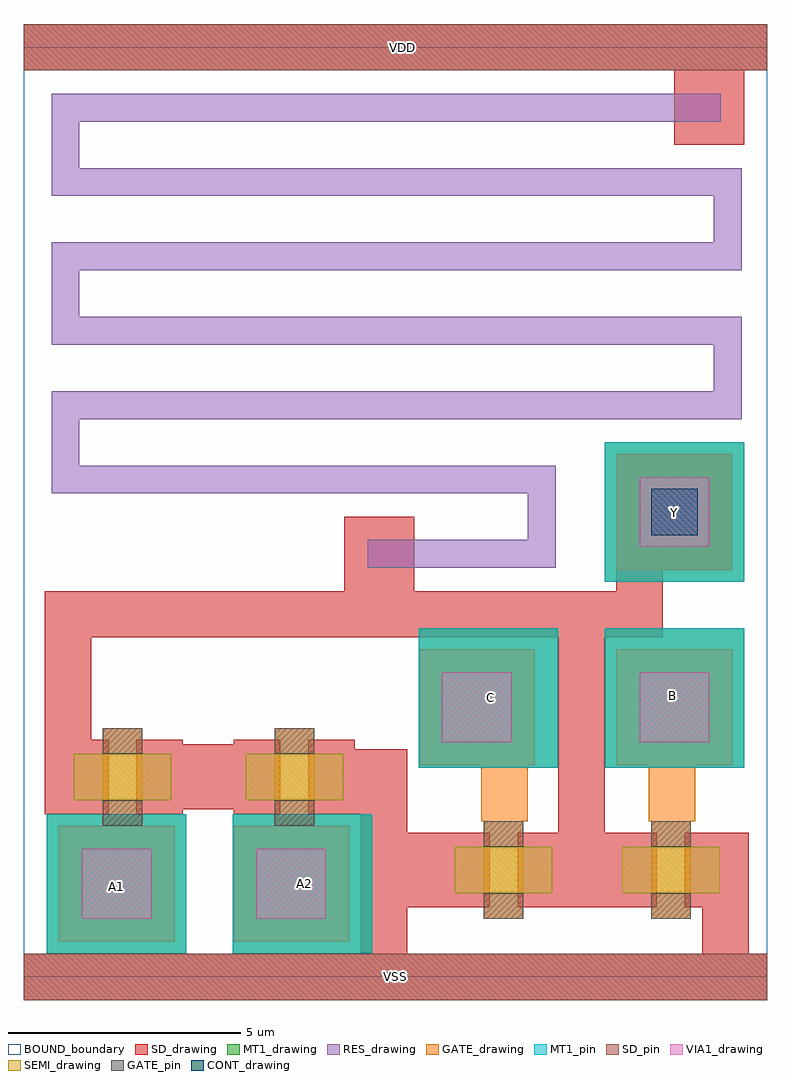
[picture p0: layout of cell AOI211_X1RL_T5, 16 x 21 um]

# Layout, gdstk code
from math import pi, radians
import gdstk
lib = gdstk.Library(unit=1e-6, precision=1e-09)
def R(c, l, rs):  # rectangles x0, y0, x1, y1
    for r in rs: c.add(gdstk.rectangle(r[:2], r[2:], *l))
def P(c, l, *ps):  # polygons
    for p in ps: c.add(gdstk.Polygon(p, *l))
RES_drawing = (1, 0)
SEMI_drawing = (3, 0)
SD_drawing = (10, 0)
SD_pin = (10, 3)
GATE_drawing = (11, 0)
GATE_pin = (11, 3)
MT1_drawing = (20, 0)
MT1_pin = (20, 3)
CONT_drawing = (30, 0)
VIA1_drawing = (41, 0)
BOUND_boundary = (150, 5)

nch_cdns_772544920600 = lib.new_cell('nch_CDNS_772544920600')
R(nch_cdns_772544920600, SEMI_drawing, [(-1.05,-0.5,1.05,0.5)])
R(nch_cdns_772544920600, SD_drawing, [(-1.3,-0.8,-0.3,0.8), (0.3,-0.8,1.3,0.8)])
R(nch_cdns_772544920600, GATE_drawing, [(-0.425,-1.05,0.425,1.05)])
R(nch_cdns_772544920600, GATE_pin, [(-0.425,-1.05,0.425,-0.5), (-0.425,0.5,0.425,1.05)])

gate_mt1_cdns_7725449206 = lib.new_cell('GATE_MT1_CDNS_772544920600')
R(gate_mt1_cdns_7725449206, GATE_drawing, [(-1.25,-1.25,1.25,1.25)])
R(gate_mt1_cdns_7725449206, MT1_drawing, [(-1.25,-1.25,1.25,1.25)])
R(gate_mt1_cdns_7725449206, VIA1_drawing, [(-0.75,-0.75,0.75,0.75)])

sd_gate_cdns_77254492060 = lib.new_cell('SD_GATE_CDNS_772544920601')
R(sd_gate_cdns_77254492060, SD_drawing, [(-1,-1,1,1)])
R(sd_gate_cdns_77254492060, GATE_drawing, [(-1,-1,1,1)])
R(sd_gate_cdns_77254492060, CONT_drawing, [(-0.5,-0.5,0.5,0.5)])

gate_mt1_stack_cdns_7725 = lib.new_cell('GATE_MT1_STACK_CDNS_772544920602')
R(gate_mt1_stack_cdns_7725, GATE_drawing, [(-1.25,-1.25,1.25,1.25)])
R(gate_mt1_stack_cdns_7725, MT1_drawing, [(-1.25,-1.25,1.25,1.25)])
R(gate_mt1_stack_cdns_7725, VIA1_drawing, [(-0.75,-0.75,0.75,0.75)])

aoi211_x1rl_t5 = lib.new_cell('AOI211_X1RL_T5')
R(aoi211_x1rl_t5, SD_drawing, [(7.05,3.5,7.25,4.9), (6.9,7.75,8.4,9.9), (12.75,8.75,15.25,11.25), (14,17.9,15.5,19.5)])
P(aoi211_x1rl_t5, SD_drawing, [(13.35,3.1),(12.5,3.1),(12.5,8.275),(11.5,8.275),(11.5,3.1),(10.95,3.1),(10.95,1.5),(13.35,1.5)])
R(aoi211_x1rl_t5, SD_pin, [(0,-0.5,16,0.5), (0,19.5,16,20.5)])
P(aoi211_x1rl_t5, GATE_drawing, [(5.225,3.15),(6.225,3.15),(6.225,3.25),(6.2,3.25),(6.2,3.3),(5.45,3.3),(5.45,3.25),(5.225,3.25)],
  [(1.6,3.15),(2.6,3.15),(2.6,3.25),(2.5,3.25),(2.5,3.3),(1.75,3.3),(1.75,3.25),(1.6,3.25)],
  [(10.85,3.45),(9.85,3.45),(9.85,3.35),(9.95,3.35),(9.95,3.3),(10.7,3.3),(10.7,3.35),(10.85,3.35)],
  [(14.45,3.45),(13.45,3.45),(13.45,3.35),(13.55,3.35),(13.55,3.3),(14.3,3.3),(14.3,3.35),(14.45,3.35)])
R(aoi211_x1rl_t5, MT1_drawing, [(0.5,0.5,3.5,3.5), (4.5,0.5,7.5,3.5), (8.5,4.5,11.5,7.5), (12.5,4.5,15.5,7.5), (12.5,8.5,15.5,11.5)])
R(aoi211_x1rl_t5, MT1_pin, [(0.5,0.5,3.5,3.5), (4.5,0.5,7.5,3.5), (8.5,4.5,11.5,7.5), (12.5,4.5,15.5,7.5), (12.5,8.5,15.5,11.5)])
R(aoi211_x1rl_t5, BOUND_boundary, [(0,0,16,20)])
aoi211_x1rl_t5.add(gdstk.FlexPath([(10.35,3.45),(10.35,4.55)], 1, ends="flush", simple_path=True, layer=11, datatype=0))  # GATE_drawing
aoi211_x1rl_t5.add(gdstk.FlexPath([(13.95,3.45),(13.95,4.55)], 1, ends="flush", simple_path=True, layer=11, datatype=0))  # GATE_drawing
aoi211_x1rl_t5.add(gdstk.FlexPath([(9,6.55),(9.95,6.55)], 1, ends=(0.5, 0), simple_path=True, layer=11, datatype=0))  # GATE_drawing
aoi211_x1rl_t5.add(gdstk.FlexPath([(2,3.25),(2,2)], 2.3, ends="flush", simple_path=True, layer=11, datatype=0))  # GATE_drawing
aoi211_x1rl_t5.add(gdstk.FlexPath([(0.95,7.8),(7.4,7.8)], 1, ends="extended", simple_path=True, layer=10, datatype=0))  # SD_drawing
aoi211_x1rl_t5.add(gdstk.FlexPath([(15.1,0),(16,0)], 1, ends=(0.5, 0), simple_path=True, layer=10, datatype=0))  # SD_drawing
aoi211_x1rl_t5.add(gdstk.FlexPath([(7.4,7.8),(7.4,7.3)], 1, ends=(0.5, 0), simple_path=True, layer=10, datatype=0))  # SD_drawing
aoi211_x1rl_t5.add(gdstk.FlexPath([(7.75,2.3),(7.75,4.9)], 1, ends=(0.8, 0), simple_path=True, layer=10, datatype=0))  # SD_drawing
aoi211_x1rl_t5.add(gdstk.FlexPath([(0.95,3.5),(0.95,7.8)], 1, ends=(0, 0.5), simple_path=True, layer=10, datatype=0))  # SD_drawing
aoi211_x1rl_t5.add(gdstk.FlexPath([(13.25,7.8),(13.25,8.75)], 1, ends=(0.5, 0), simple_path=True, layer=10, datatype=0))  # SD_drawing
aoi211_x1rl_t5.add(gdstk.FlexPath([(15.1,0),(15.1,3.1)], 1, ends=(0.5, 0), simple_path=True, layer=10, datatype=0))  # SD_drawing
aoi211_x1rl_t5.add(gdstk.FlexPath([(7.75,0),(7.75,2.3)], 1, ends=(0.5, 0.8), simple_path=True, layer=10, datatype=0))  # SD_drawing
aoi211_x1rl_t5.add(gdstk.FlexPath([(13.25,7.8),(7.4,7.8)], 1, ends="extended", simple_path=True, layer=10, datatype=0))  # SD_drawing
aoi211_x1rl_t5.add(gdstk.FlexPath([(7.75,0),(15.1,0)], 1, ends="extended", simple_path=True, layer=10, datatype=0))  # SD_drawing
aoi211_x1rl_t5.add(gdstk.FlexPath([(9.025,2.3),(7.75,2.3)], 1.6, ends=(0, 0.5), simple_path=True, layer=10, datatype=0))  # SD_drawing
aoi211_x1rl_t5.add(gdstk.FlexPath([(3.425,4.3),(4.525,4.3)], 1.4, ends="flush", simple_path=True, layer=10, datatype=0))  # SD_drawing
aoi211_x1rl_t5.add(gdstk.FlexPath([(0,0),(7.75,0)], 1, ends=(0, 0.5), simple_path=True, layer=10, datatype=0))  # SD_drawing
aoi211_x1rl_t5.add(gdstk.FlexPath([(16,20),(0,20)], 1, ends="flush", simple_path=True, layer=10, datatype=0))  # SD_drawing
aoi211_x1rl_t5.add(gdstk.FlexPath([(15,18.7),(0.9,18.7),(0.9,17.1),(15.15,17.1),(15.15,15.5),(0.9,15.5),(0.9,13.9),(15.15,13.9),(15.15,12.3),(0.9,12.3),(0.9,10.7),(11.15,10.7),(11.15,9.1),(7.4,9.1)], 0.6, ends="flush", simple_path=True, layer=1, datatype=0))  # RES_drawing
aoi211_x1rl_t5.add(gdstk.Reference(nch_cdns_772544920600, (10.325,2.3), x_reflection=True))
aoi211_x1rl_t5.add(gdstk.Reference(nch_cdns_772544920600, (2.125,4.3)))
aoi211_x1rl_t5.add(gdstk.Reference(nch_cdns_772544920600, (5.825,4.3), rotation=pi, x_reflection=True))
aoi211_x1rl_t5.add(gdstk.Reference(nch_cdns_772544920600, (13.925,2.3), rotation=pi))
aoi211_x1rl_t5.add(gdstk.Reference(gate_mt1_cdns_7725449206, (14,10)))
aoi211_x1rl_t5.add(gdstk.Reference(gate_mt1_cdns_7725449206, (9.75,5.8)))
aoi211_x1rl_t5.add(gdstk.Reference(gate_mt1_cdns_7725449206, (14,5.8)))
aoi211_x1rl_t5.add(gdstk.Reference(sd_gate_cdns_77254492060, (14,10)))
aoi211_x1rl_t5.add(gdstk.Reference(gate_mt1_stack_cdns_7725, (2,2)))
aoi211_x1rl_t5.add(gdstk.Reference(gate_mt1_stack_cdns_7725, (5.75,2)))
aoi211_x1rl_t5.add(gdstk.Label('VSS', (8,0), layer=10, texttype=3))
aoi211_x1rl_t5.add(gdstk.Label('VDD', (8.15,20), layer=10, texttype=3))
aoi211_x1rl_t5.add(gdstk.Label('A1', (2,1.95), layer=20, texttype=3))
aoi211_x1rl_t5.add(gdstk.Label('A2', (6.05,2), layer=20, texttype=3))
aoi211_x1rl_t5.add(gdstk.Label('C', (10.05,6), layer=20, texttype=3))
aoi211_x1rl_t5.add(gdstk.Label('B', (13.95,6.05), layer=20, texttype=3))
aoi211_x1rl_t5.add(gdstk.Label('Y', (14,10), layer=20, texttype=3))

lib.write_gds('AOI211_X1RL_T5.gds')
